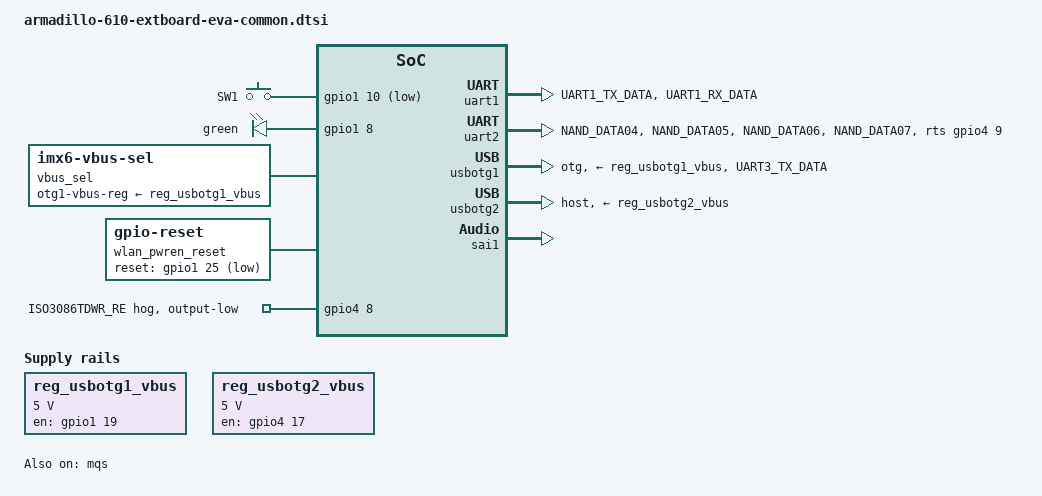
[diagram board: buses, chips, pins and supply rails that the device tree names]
/*
 * Copyright (C) 2020 Atmark Techno, Inc. All Rights Reserved.
 *
 * SPDX-License-Identifier: (GPL-2.0 OR MIT)
 */

/ {
	chosen {
		stdout-path = &uart1;
	};

	gpio-keys {
		compatible = "gpio-keys";
		pinctrl-names = "default";
		pinctrl-0 = <&pinctrl_gpio_keys>;

		sw1 {
			label = "SW1";
			gpios = <&gpio1 10 GPIO_ACTIVE_LOW>;
			linux,code = <KEY_ENTER>;
		};
	};

	gpio-leds {
		compatible = "gpio-leds";
		pinctrl-names = "default";
		pinctrl-0 = <&pinctrl_gpio_leds>;

		green {
			label = "green";
			gpios = <&gpio1 8 GPIO_ACTIVE_HIGH>;
			linux,default-trigger = "default-on";
		};
	};

	regulators {
		compatible = "simple-bus";
		#address-cells = <1>;
		#size-cells = <0>;

		reg_usbotg1_vbus: regulator-usbotg1vbus {
			pinctrl-names = "default";
			pinctrl-0 = <&pinctrl_usbotg1_vbus>;
			compatible = "regulator-fixed";
			regulator-name = "USB_OTG1_VBUS";
			regulator-min-microvolt = <5000000>;
			regulator-max-microvolt = <5000000>;
			gpio = <&gpio1 19 GPIO_ACTIVE_HIGH>;
			enable-active-high;
		};

		reg_usbotg2_vbus: regulator-usbotg2vbus {
			pinctrl-names = "default";
			pinctrl-0 = <&pinctrl_usbotg2_vbus>;
			compatible = "regulator-fixed";
			regulator-name = "USB_OTG2_VBUS";
			regulator-min-microvolt = <5000000>;
			regulator-max-microvolt = <5000000>;
			gpio = <&gpio4 17 GPIO_ACTIVE_HIGH>;
			enable-active-high;
		};
	};

	vbus_sel: vbus-sel {
		compatible = "imx6-vbus-sel";
		otg1-vbus-reg-supply = <&reg_usbotg1_vbus>;

		/* Workarounds for ERR010661 */
		/* otg2-vbus-reg-supply = <&reg_usbotg2_vbus>; */
	};

	sound-mqs {
		compatible = "fsl,imx6ul-ddr3-arm2-mqs",
				"fsl,imx-audio-mqs";
		model = "mqs-audio";
		cpu-dai = <&sai1>;
		asrc-controller = <&asrc>;
		audio-codec = <&mqs>;
	};

	wlan_pwren_reset: awlan-reset {
		pinctrl-names = "default";
		pinctrl-0 = <&pinctrl_wlan_pwren>;
		compatible = "gpio-reset";
		reset-gpios = <&gpio1 25 GPIO_ACTIVE_LOW>;

		/* awl13 needs time for power discharging that takes 500 msec */
		reset-delay-us = <500000>;

		reset-on-init;
		#reset-cells = <0>;
	};
};

&uart1 {
	pinctrl-names = "default";
	pinctrl-0 = <&pinctrl_uart1>;
	status = "okay";
};

&uart2 {
	pinctrl-names = "default";
	pinctrl-0 = <&pinctrl_uart2>;
	status = "okay";
	fsl,uart-has-rtscts;
	rts-gpios = <&gpio4 9 GPIO_ACTIVE_HIGH>;

	rs485-enabled-at-boot-time;
	rs485-rts-on-send;
	rs485-delay-rts-before-send = <0>;
	rs485-delay-rts-after-send = <0>;
};

&iomuxc {
	pinctrl-names = "default";
	pinctrl-0 = <
			&pinctrl_gpio_amp
			&pinctrl_gpio_con13b
		    >;

	pinctrl_wlan_pwren: wlanpwrengrp {
		fsl,pins = <
			MX6UL_PAD_UART3_RX_DATA__GPIO1_IO25 0x40000008
		>;
	};

	pinctrl_mqs: mqsgrp {
		fsl,pins = <
			MX6UL_PAD_GPIO1_IO00__MQS_RIGHT 0x11088 // MQS
		>;
	};

	pinctrl_gpio_amp: gpioampgrp {
		fsl,pins = <
			MX6UL_PAD_GPIO1_IO05__GPIO1_IO05 0x400010b0 // AMP_SD_B
		>;
	};

	pinctrl_gpio_con13b: gpiocon13bgrp {
		fsl,pins = <
			MX6UL_PAD_UART2_TX_DATA__GPIO1_IO20 0x400010b0 // DI1
			MX6UL_PAD_UART2_RX_DATA__GPIO1_IO21 0x400010b0 // DI2
			MX6UL_PAD_UART5_TX_DATA__GPIO1_IO30 0x400010b0 // DO1
			MX6UL_PAD_UART5_RX_DATA__GPIO1_IO31 0x400010b0 // DO2
		>;
	};

	pinctrl_uart2: uart2grp {
		fsl,pins = <
			MX6UL_PAD_NAND_DATA04__UART2_DCE_TX	0x00008
			MX6UL_PAD_NAND_DATA05__UART2_DCE_RX	0x1b0b1
			MX6UL_PAD_NAND_DATA06__GPIO4_IO08	0x00008
			MX6UL_PAD_NAND_DATA07__GPIO4_IO09	0x00008
		>;
	};

	pinctrl_gpio_keys: gpiokeysgrp {
		fsl,pins = <
			MX6UL_PAD_JTAG_MOD__GPIO1_IO10     0x13080
		>;
	};

	pinctrl_gpio_leds: gpioledsgrp {
		fsl,pins = <
			MX6UL_PAD_GPIO1_IO08__GPIO1_IO08   0x00008
		>;
	};

	pinctrl_usbotg1: usbotg1grp {
		fsl,pins = <
			MX6UL_PAD_UART3_TX_DATA__ANATOP_OTG1_ID 0x17059
		>;
	};
	
	pinctrl_usbotg1_vbus: usbotg1vbusgrp {
		fsl,pins = <
			MX6UL_PAD_UART1_RTS_B__GPIO1_IO19  0x00008
		>;
	};

	pinctrl_usbotg2_vbus: usbotg2vbusgrp {
		fsl,pins = <
			MX6UL_PAD_CSI_MCLK__GPIO4_IO17     0x00008
		>;
	};

	pinctrl_uart1: uart1grp {
		fsl,pins = <
			MX6UL_PAD_UART1_TX_DATA__UART1_DCE_TX 0x00008
			MX6UL_PAD_UART1_RX_DATA__UART1_DCE_RX 0x1b0b1
		>;
	};

	pinctrl_sd2_vmmc: sd2vmmcgrp {
		fsl,pins = <
			MX6UL_PAD_UART2_RTS_B__GPIO1_IO23  0x00008
		>;
	};
};

&usbotg1 {
	pinctrl-names = "default";
	pinctrl-0 = <&pinctrl_usbotg1>;
	vbus-supply = <&reg_usbotg1_vbus>;
	dr_mode = "otg";
	disable-over-current;
	status = "okay";
};

&usbotg2 {
	vbus-supply = <&reg_usbotg2_vbus>;
	dr_mode = "host";
	disable-over-current;
	status = "okay";
};

&usbphy2 {
	fsl,tx-d-cal = <106>;
};

&clks {
	assigned-clocks = <&clks IMX6UL_CLK_PLL4_AUDIO_DIV>;
	assigned-clock-rates = <786432000>;
};

&sai1 {
	assigned-clocks = <&clks IMX6UL_CLK_SAI1_SEL>,
			  <&clks IMX6UL_CLK_SAI1>;
	assigned-clock-parents = <&clks IMX6UL_CLK_PLL4_AUDIO_DIV>;
	assigned-clock-rates = <0>, <24576000>;
	status = "okay";
};

&mqs {
	pinctrl-names = "default";
	pinctrl-0 = <&pinctrl_mqs>;
	clocks = <&clks IMX6UL_CLK_SAI1>;
	clock-names = "mclk";
	status = "okay";
};

&gpio4 {
	iso3086tdwr_re {
		gpio-hog;
		gpios = <8 GPIO_ACTIVE_HIGH>;
		line-name = "ISO3086TDWR_RE";
		output-low;
	};
};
